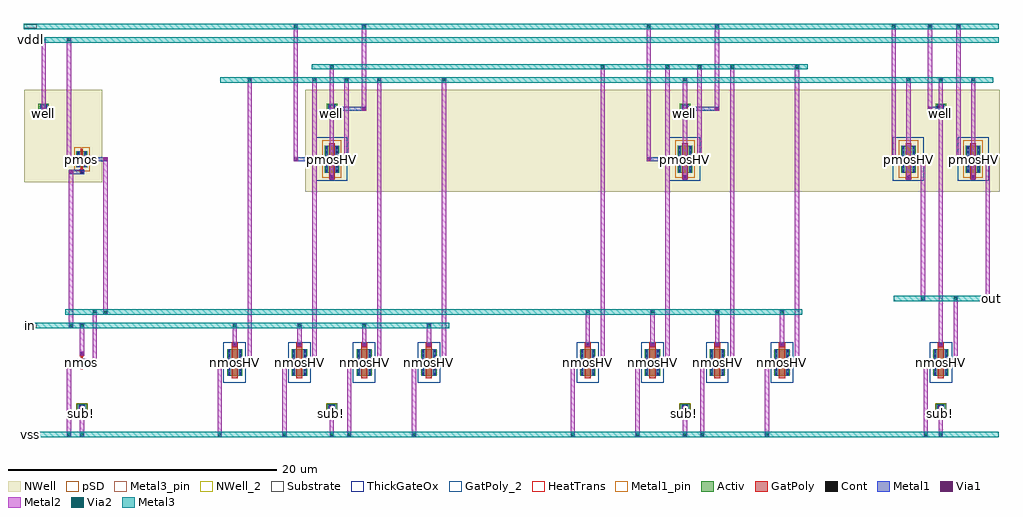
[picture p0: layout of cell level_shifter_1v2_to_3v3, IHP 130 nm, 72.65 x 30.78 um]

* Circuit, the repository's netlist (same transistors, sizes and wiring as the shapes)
** sch_path: /home/arjun/eda/projects/SAR_ADC/circuit_files/sar_adc_test/xschem/level_shifter_1v2_to_3v3.sch
.subckt level_shifter_1v2_to_3v3 vss vddl vddh out in
*.PININFO vddl:B vddh:B out:B vss:B in:B
MM1 inb in vss vss sg13_lv_nmos w=0.6u l=0.13u ng=1
MM2 inb in vddl vddl sg13_lv_pmos w=1.2u l=0.13u ng=1
MM3 a in vss vss sg13_hv_nmos w=2u l=0.45u ng=1 m=4
MM4 b inb vss vss sg13_hv_nmos w=2u l=0.45u ng=1 m=4
MM5 b a vddh vddh sg13_hv_pmos w=2u l=0.4u ng=1
MM6 a b vddh vddh sg13_hv_pmos w=2u l=0.4u ng=1
MM12 out a vss vss sg13_hv_nmos w=2u l=0.45u ng=1
MM16 out a vddh vddh sg13_hv_pmos w=2u l=0.4u ng=1 m=2
.ends

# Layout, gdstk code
import gdstk
lib = gdstk.Library(unit=1e-6, precision=1e-09)
def R(c, l, rs):  # rectangles x0, y0, x1, y1
    for r in rs: c.add(gdstk.rectangle(r[:2], r[2:], *l))
def A(c, l, x, y, w, h, nx, ny, dx, dy):  # array of equal rectangles
    R(c, l, [(x+i*dx, y+j*dy, x+i*dx+w, y+j*dy+h) for i in range(nx) for j in range(ny)])
Activ = (1, 0)
GatPoly = (5, 0)
GatPoly_2 = (5, 2)
Cont = (6, 0)
Metal1 = (8, 0)
Metal1_pin = (8, 2)
Metal2 = (10, 0)
pSD = (14, 0)
Via1 = (19, 0)
Via2 = (29, 0)
Metal3 = (30, 0)
Metal3_pin = (30, 2)
NWell = (31, 0)
NWell_2 = (31, 2)
Substrate = (40, 0)
ThickGateOx = (44, 0)
HeatTrans = (51, 0)

level_shifter_1v2_to_3v3 = lib.new_cell('level_shifter_1v2_to_3v3')
A(level_shifter_1v2_to_3v3, Activ, 10.81, -1, 1.13, 2, 4, 1, 4.82, 0)
A(level_shifter_1v2_to_3v3, Activ, 37.09, -1, 1.13, 2, 4, 1, 4.82, 0)
R(level_shifter_1v2_to_3v3, Activ, [(-0.39,-3.83,0.39,-3.05), (18.215,-3.83,18.995,-3.05), (44.495,-3.83,45.275,-3.05), (63.545,-3.83,64.325,-3.05), (10.81,-1,11.11,-0.7), (11.64,-1,11.94,-0.7), (15.63,-1,15.93,-0.7), (16.46,-1,16.76,-0.7), (20.45,-1,20.75,-0.7), (21.28,-1,21.58,-0.7), (25.27,-1,25.57,-0.7), (26.1,-1,26.4,-0.7), (37.09,-1,37.39,-0.7), (37.92,-1,38.22,-0.7), (41.91,-1,42.21,-0.7), (42.74,-1,43.04,-0.7), (46.73,-1,47.03,-0.7), (47.56,-1,47.86,-0.7), (51.55,-1,51.85,-0.7), (52.38,-1,52.68,-0.7), (63.37,-1,63.67,-0.7), (63.37,-1,64.5,1), (64.2,-1,64.5,-0.7), (-0.405,-0.3,-0.105,0), (-0.405,-0.3,0.405,0.3), (0.105,-0.3,0.405,0), (18.065,14.14,18.365,14.44), (18.065,14.14,19.145,16.14), (18.845,14.14,19.145,14.44), (44.345,14.14,44.645,14.44), (44.345,14.14,45.425,16.14), (45.125,14.14,45.425,14.44), (60.985,14.14,61.285,14.44), (60.985,14.14,62.065,16.14), (61.765,14.14,62.065,14.44), (65.805,14.14,66.105,14.44), (65.805,14.14,66.885,16.14), (66.585,14.14,66.885,14.44), (-0.405,14.54,-0.105,14.84), (-0.405,14.54,0.405,15.74), (0.105,14.54,0.405,14.84), (-3.235,18.5,-2.455,19.28), (18.215,18.5,18.995,19.28), (44.495,18.5,45.275,19.28), (63.545,18.5,64.325,19.28)])
A(level_shifter_1v2_to_3v3, GatPoly, 11.15, -1.18, 0.45, 2.36, 4, 1, 4.82, 0)
A(level_shifter_1v2_to_3v3, GatPoly, 37.43, -1.18, 0.45, 2.36, 4, 1, 4.82, 0)
A(level_shifter_1v2_to_3v3, GatPoly, 11.15, 1.16, 0.45, 0.35, 4, 1, 4.82, 0)
A(level_shifter_1v2_to_3v3, GatPoly, 37.43, 1.16, 0.45, 0.35, 4, 1, 4.82, 0)
R(level_shifter_1v2_to_3v3, GatPoly, [(63.71,-1.18,64.16,1.18), (-0.065,-0.48,0.065,0.48), (-0.15,0.46,0.15,0.81), (63.71,1.16,64.16,1.51), (18.405,13.63,18.805,13.98), (44.685,13.63,45.085,13.98), (61.325,13.63,61.725,13.98), (66.145,13.63,66.545,13.98), (18.405,13.96,18.805,16.32), (44.685,13.96,45.085,16.32), (61.325,13.96,61.725,16.32), (66.145,13.96,66.545,16.32), (-0.15,14.03,0.15,14.38), (-0.065,14.36,0.065,15.92), (-0.065,14.36,0.065,15.92)])
A(level_shifter_1v2_to_3v3, GatPoly_2, 11.15, -1.18, 0.45, 2.36, 4, 1, 4.82, 0)
A(level_shifter_1v2_to_3v3, GatPoly_2, 37.43, -1.18, 0.45, 2.36, 4, 1, 4.82, 0)
R(level_shifter_1v2_to_3v3, GatPoly_2, [(63.71,-1.18,64.16,1.18), (-0.065,-0.48,0.065,0.48), (18.405,13.96,18.805,16.32), (44.685,13.96,45.085,16.32), (61.325,13.96,61.725,16.32), (66.145,13.96,66.545,16.32)])
A(level_shifter_1v2_to_3v3, Cont, 10.88, -0.93, 0.16, 0.16, 1, 6, 0, 0.34)
A(level_shifter_1v2_to_3v3, Cont, 11.71, -0.93, 0.16, 0.16, 1, 6, 0, 0.34)
A(level_shifter_1v2_to_3v3, Cont, 15.7, -0.93, 0.16, 0.16, 1, 6, 0, 0.34)
A(level_shifter_1v2_to_3v3, Cont, 16.53, -0.93, 0.16, 0.16, 1, 6, 0, 0.34)
A(level_shifter_1v2_to_3v3, Cont, 20.52, -0.93, 0.16, 0.16, 1, 6, 0, 0.34)
A(level_shifter_1v2_to_3v3, Cont, 21.35, -0.93, 0.16, 0.16, 1, 6, 0, 0.34)
A(level_shifter_1v2_to_3v3, Cont, 25.34, -0.93, 0.16, 0.16, 1, 6, 0, 0.34)
A(level_shifter_1v2_to_3v3, Cont, 26.17, -0.93, 0.16, 0.16, 1, 6, 0, 0.34)
A(level_shifter_1v2_to_3v3, Cont, 37.16, -0.93, 0.16, 0.16, 1, 6, 0, 0.34)
A(level_shifter_1v2_to_3v3, Cont, 37.99, -0.93, 0.16, 0.16, 1, 6, 0, 0.34)
A(level_shifter_1v2_to_3v3, Cont, 41.98, -0.93, 0.16, 0.16, 1, 6, 0, 0.34)
A(level_shifter_1v2_to_3v3, Cont, 42.81, -0.93, 0.16, 0.16, 1, 6, 0, 0.34)
A(level_shifter_1v2_to_3v3, Cont, 46.8, -0.93, 0.16, 0.16, 1, 6, 0, 0.34)
A(level_shifter_1v2_to_3v3, Cont, 47.63, -0.93, 0.16, 0.16, 1, 6, 0, 0.34)
A(level_shifter_1v2_to_3v3, Cont, 51.62, -0.93, 0.16, 0.16, 1, 6, 0, 0.34)
A(level_shifter_1v2_to_3v3, Cont, 52.45, -0.93, 0.16, 0.16, 1, 6, 0, 0.34)
A(level_shifter_1v2_to_3v3, Cont, 63.44, -0.93, 0.16, 0.16, 1, 6, 0, 0.34)
A(level_shifter_1v2_to_3v3, Cont, 64.27, -0.93, 0.16, 0.16, 1, 6, 0, 0.34)
A(level_shifter_1v2_to_3v3, Cont, 11.295, 1.28, 0.16, 0.16, 4, 1, 4.82, 0)
A(level_shifter_1v2_to_3v3, Cont, 37.575, 1.28, 0.16, 0.16, 4, 1, 4.82, 0)
A(level_shifter_1v2_to_3v3, Cont, 18.135, 14.21, 0.16, 0.16, 1, 6, 0, 0.34)
A(level_shifter_1v2_to_3v3, Cont, 18.915, 14.21, 0.16, 0.16, 1, 6, 0, 0.34)
A(level_shifter_1v2_to_3v3, Cont, 44.415, 14.21, 0.16, 0.16, 1, 6, 0, 0.34)
A(level_shifter_1v2_to_3v3, Cont, 45.195, 14.21, 0.16, 0.16, 1, 6, 0, 0.34)
A(level_shifter_1v2_to_3v3, Cont, 61.055, 14.21, 0.16, 0.16, 1, 6, 0, 0.34)
A(level_shifter_1v2_to_3v3, Cont, 61.835, 14.21, 0.16, 0.16, 1, 6, 0, 0.34)
A(level_shifter_1v2_to_3v3, Cont, 65.875, 14.21, 0.16, 0.16, 1, 6, 0, 0.34)
A(level_shifter_1v2_to_3v3, Cont, 66.655, 14.21, 0.16, 0.16, 1, 6, 0, 0.34)
A(level_shifter_1v2_to_3v3, Cont, -0.335, 14.61, 0.16, 0.16, 1, 3, 0, 0.45)
A(level_shifter_1v2_to_3v3, Cont, 0.175, 14.61, 0.16, 0.16, 1, 3, 0, 0.45)
R(level_shifter_1v2_to_3v3, Cont, [(-0.25,-3.69,-0.09,-3.53), (0.09,-3.69,0.25,-3.53), (18.355,-3.69,18.515,-3.53), (18.695,-3.69,18.855,-3.53), (44.635,-3.69,44.795,-3.53), (44.975,-3.69,45.135,-3.53), (63.685,-3.69,63.845,-3.53), (64.025,-3.69,64.185,-3.53), (-0.25,-3.35,-0.09,-3.19), (0.09,-3.35,0.25,-3.19), (18.355,-3.35,18.515,-3.19), (18.695,-3.35,18.855,-3.19), (44.635,-3.35,44.795,-3.19), (44.975,-3.35,45.135,-3.19), (63.685,-3.35,63.845,-3.19), (64.025,-3.35,64.185,-3.19), (-0.335,-0.08,-0.175,0.08), (0.175,-0.08,0.335,0.08), (-0.08,0.58,0.08,0.74), (63.855,1.28,64.015,1.44), (18.525,13.7,18.685,13.86), (44.805,13.7,44.965,13.86), (61.445,13.7,61.605,13.86), (66.265,13.7,66.425,13.86), (-0.08,14.1,0.08,14.26), (-3.095,18.64,-2.935,18.8), (-2.755,18.64,-2.595,18.8), (18.355,18.64,18.515,18.8), (18.695,18.64,18.855,18.8), (44.635,18.64,44.795,18.8), (44.975,18.64,45.135,18.8), (63.685,18.64,63.845,18.8), (64.025,18.64,64.185,18.8), (-3.095,18.98,-2.935,19.14), (-2.755,18.98,-2.595,19.14), (18.355,18.98,18.515,19.14), (18.695,18.98,18.855,19.14), (44.635,18.98,44.795,19.14), (44.975,18.98,45.135,19.14), (63.685,18.98,63.845,19.14), (64.025,18.98,64.185,19.14)])
A(level_shifter_1v2_to_3v3, Metal1, 11.215, 1.2, 0.32, 0.32, 4, 1, 4.82, 0)
A(level_shifter_1v2_to_3v3, Metal1, 37.495, 1.2, 0.32, 0.32, 4, 1, 4.82, 0)
A(level_shifter_1v2_to_3v3, Metal1, 11.23, 1.255, 0.29, 0.21, 4, 1, 4.82, 0)
A(level_shifter_1v2_to_3v3, Metal1, 37.51, 1.255, 0.29, 0.21, 4, 1, 4.82, 0)
R(level_shifter_1v2_to_3v3, Metal1, [(-0.25,-3.74,0.25,-3.14), (18.355,-3.74,18.855,-3.14), (44.635,-3.74,45.135,-3.14), (63.685,-3.74,64.185,-3.14), (-0.25,-3.69,0.25,-3.19), (18.355,-3.69,18.855,-3.19), (44.635,-3.69,45.135,-3.19), (63.685,-3.69,64.185,-3.19), (-0.145,-3.545,0.145,-3.335), (18.46,-3.545,18.75,-3.335), (44.74,-3.545,45.03,-3.335), (63.79,-3.545,64.08,-3.335), (10.88,-1,11.04,1), (11.71,-1,11.87,1), (15.7,-1,15.86,1), (16.53,-1,16.69,1), (20.52,-1,20.68,1), (21.35,-1,21.51,1), (25.34,-1,25.5,1), (26.17,-1,26.33,1), (37.16,-1,37.32,1), (37.99,-1,38.15,1), (41.98,-1,42.14,1), (42.81,-1,42.97,1), (46.8,-1,46.96,1), (47.63,-1,47.79,1), (51.62,-1,51.78,1), (52.45,-1,52.61,1), (63.44,-1,63.6,1), (64.27,-1,64.43,1), (-0.335,-0.3,-0.175,0.3), (0.175,-0.3,0.335,0.3), (-1.095,-0.14,-0.115,0.14), (0.115,-0.14,1.095,0.14), (10.12,-0.14,11.1,0.14), (11.65,-0.14,12.63,0.14), (14.94,-0.14,15.92,0.14), (16.47,-0.14,17.45,0.14), (19.76,-0.14,20.74,0.14), (21.29,-0.14,22.27,0.14), (24.58,-0.14,25.56,0.14), (26.11,-0.14,27.09,0.14), (36.4,-0.14,37.38,0.14), (37.93,-0.14,38.91,0.14), (41.22,-0.14,42.2,0.14), (42.75,-0.14,43.73,0.14), (46.04,-0.14,47.02,0.14), (47.57,-0.14,48.55,0.14), (50.86,-0.14,51.84,0.14), (52.39,-0.14,53.37,0.14), (62.68,-0.14,63.66,0.14), (64.21,-0.14,65.19,0.14), (-1.1,-0.105,-0.81,0.105), (0.81,-0.105,1.1,0.105), (10.115,-0.105,10.405,0.105), (12.345,-0.105,12.635,0.105), (14.935,-0.105,15.225,0.105), (17.165,-0.105,17.455,0.105), (19.755,-0.105,20.045,0.105), (21.985,-0.105,22.275,0.105), (24.575,-0.105,24.865,0.105), (26.805,-0.105,27.095,0.105), (36.395,-0.105,36.685,0.105), (38.625,-0.105,38.915,0.105), (41.215,-0.105,41.505,0.105), (43.445,-0.105,43.735,0.105), (46.035,-0.105,46.325,0.105), (48.265,-0.105,48.555,0.105), (50.855,-0.105,51.145,0.105), (53.085,-0.105,53.375,0.105), (62.675,-0.105,62.965,0.105), (64.905,-0.105,65.195,0.105), (-0.16,0.5,0.16,0.82), (-0.145,0.555,0.145,0.765), (63.775,1.2,64.095,1.52), (63.79,1.255,64.08,1.465), (18.445,13.62,18.765,13.94), (44.725,13.62,45.045,13.94), (61.365,13.62,61.685,13.94), (66.185,13.62,66.505,13.94), (18.46,13.675,18.75,13.885), (44.74,13.675,45.03,13.885), (61.38,13.675,61.67,13.885), (66.2,13.675,66.49,13.885), (-0.96,14.02,0.16,14.34), (-0.16,14.02,0.16,14.34), (-0.945,14.075,-0.655,14.285), (18.135,14.14,18.295,16.14), (18.915,14.14,19.075,16.14), (44.415,14.14,44.575,16.14), (45.195,14.14,45.355,16.14), (61.055,14.14,61.215,16.14), (61.835,14.14,61.995,16.14), (65.875,14.14,66.035,16.14), (66.655,14.14,66.815,16.14), (-0.335,14.54,-0.175,15.74), (-0.335,14.54,-0.175,15.74), (0.175,14.54,0.335,15.74), (0.175,14.54,0.335,15.74), (-1.095,15,-0.115,15.28), (0.115,15,1.895,15.28), (15.775,15,18.355,15.28), (18.855,15,19.835,15.28), (42.055,15,44.635,15.28), (45.135,15,46.115,15.28), (60.295,15,61.275,15.28), (61.775,15,62.755,15.28), (65.115,15,66.095,15.28), (66.595,15,67.575,15.28), (-1.1,15.035,-0.81,15.245), (1.61,15.035,1.9,15.245), (15.77,15.035,16.06,15.245), (19.55,15.035,19.84,15.245), (42.05,15.035,42.34,15.245), (45.83,15.035,46.12,15.245), (60.29,15.035,60.58,15.245), (62.47,15.035,62.76,15.245), (65.11,15.035,65.4,15.245), (67.29,15.035,67.58,15.245), (-3.095,18.59,-2.595,19.19), (18.355,18.59,18.855,19.19), (44.635,18.59,45.135,19.19), (63.685,18.59,64.185,19.19), (18.465,18.75,21.145,19.03), (44.745,18.75,47.425,19.03), (62.995,18.75,64.075,19.03), (-2.99,18.785,-2.7,18.995), (20.86,18.785,21.15,18.995), (47.14,18.785,47.43,18.995), (62.99,18.785,63.28,18.995)])
R(level_shifter_1v2_to_3v3, Metal1_pin, [(-0.25,-3.69,0.25,-3.19), (18.355,-3.69,18.855,-3.19), (44.635,-3.69,45.135,-3.19), (63.685,-3.69,64.185,-3.19), (10.88,-1,11.04,1), (11.71,-1,11.87,1), (15.7,-1,15.86,1), (16.53,-1,16.69,1), (20.52,-1,20.68,1), (21.35,-1,21.51,1), (25.34,-1,25.5,1), (26.17,-1,26.33,1), (37.16,-1,37.32,1), (37.99,-1,38.15,1), (41.98,-1,42.14,1), (42.81,-1,42.97,1), (46.8,-1,46.96,1), (47.63,-1,47.79,1), (51.62,-1,51.78,1), (52.45,-1,52.61,1), (63.44,-1,63.6,1), (64.27,-1,64.43,1), (-0.335,-0.3,-0.175,0.3), (0.175,-0.3,0.335,0.3), (18.135,14.14,18.295,16.14), (18.915,14.14,19.075,16.14), (44.415,14.14,44.575,16.14), (45.195,14.14,45.355,16.14), (61.055,14.14,61.215,16.14), (61.835,14.14,61.995,16.14), (65.875,14.14,66.035,16.14), (66.655,14.14,66.815,16.14), (-3.095,18.59,-2.595,19.19), (18.355,18.59,18.855,19.19), (44.635,18.59,45.135,19.19), (63.685,18.59,64.185,19.19), (-3.095,18.64,-2.595,19.14), (18.355,18.64,18.855,19.14), (44.635,18.64,45.135,19.14), (63.685,18.64,64.185,19.14)])
A(level_shifter_1v2_to_3v3, Metal2, 10.1, -5.52, 0.32, 5.68, 4, 1, 4.82, 0)
A(level_shifter_1v2_to_3v3, Metal2, 36.38, -5.52, 0.32, 5.68, 4, 1, 4.82, 0)
A(level_shifter_1v2_to_3v3, Metal2, 12.33, -0.16, 0.32, 21.34, 4, 1, 4.82, 0)
A(level_shifter_1v2_to_3v3, Metal2, 38.61, -0.16, 0.32, 22.34, 4, 1, 4.82, 0)
A(level_shifter_1v2_to_3v3, Metal2, 11.215, 1.2, 0.32, 1.73, 4, 1, 4.82, 0)
A(level_shifter_1v2_to_3v3, Metal2, 37.495, 1.2, 0.32, 2.73, 4, 1, 4.82, 0)
A(level_shifter_1v2_to_3v3, Metal2, 11.23, 1.26, 0.29, 0.2, 4, 2, 4.82, 1.41)
A(level_shifter_1v2_to_3v3, Metal2, 37.51, 1.26, 0.29, 0.2, 4, 2, 4.82, 2.41)
A(level_shifter_1v2_to_3v3, Metal2, 61.38, 20.92, 0.29, 0.2, 3, 1, 2.41, 0)
R(level_shifter_1v2_to_3v3, Metal2, [(-1.115,-5.52,-0.795,0.16), (-0.16,-5.52,0.16,-3.28), (18.445,-5.52,18.765,-3.28), (44.725,-5.52,45.045,-3.28), (62.66,-5.52,62.98,0.16), (63.775,-5.52,64.095,-3.28), (-1.1,-5.46,-0.81,-5.26), (-0.145,-5.46,0.145,-5.26), (10.115,-5.46,10.405,-5.26), (14.935,-5.46,15.225,-5.26), (18.46,-5.46,18.75,-5.26), (19.755,-5.46,20.045,-5.26), (24.575,-5.46,24.865,-5.26), (36.395,-5.46,36.685,-5.26), (41.215,-5.46,41.505,-5.26), (44.74,-5.46,45.03,-5.26), (46.035,-5.46,46.325,-5.26), (50.855,-5.46,51.145,-5.26), (62.675,-5.46,62.965,-5.26), (63.79,-5.46,64.08,-5.26), (-0.145,-3.54,0.145,-3.34), (18.46,-3.54,18.75,-3.34), (44.74,-3.54,45.03,-3.34), (63.79,-3.54,64.08,-3.34), (0.795,-0.16,1.115,3.93), (64.89,-0.16,65.21,4.93), (-1.1,-0.1,-0.81,0.1), (0.81,-0.1,1.1,0.1), (10.115,-0.1,10.405,0.1), (12.345,-0.1,12.635,0.1), (14.935,-0.1,15.225,0.1), (17.165,-0.1,17.455,0.1), (19.755,-0.1,20.045,0.1), (21.985,-0.1,22.275,0.1), (24.575,-0.1,24.865,0.1), (26.805,-0.1,27.095,0.1), (36.395,-0.1,36.685,0.1), (38.625,-0.1,38.915,0.1), (41.215,-0.1,41.505,0.1), (43.445,-0.1,43.735,0.1), (46.035,-0.1,46.325,0.1), (48.265,-0.1,48.555,0.1), (50.855,-0.1,51.145,0.1), (53.085,-0.1,53.375,0.1), (62.675,-0.1,62.965,0.1), (64.905,-0.1,65.195,0.1), (-0.16,0.5,0.16,2.93), (-0.145,0.56,0.145,0.76), (63.775,1.2,64.095,21.18), (63.79,1.26,64.08,1.46), (-0.96,2.61,-0.64,14.34), (-0.945,2.67,-0.655,2.87), (-0.145,2.67,0.145,2.87), (1.595,3.61,1.915,15.3), (0.81,3.67,1.1,3.87), (1.61,3.67,1.9,3.87), (62.455,4.61,62.775,15.3), (67.275,4.61,67.595,15.3), (62.47,4.67,62.76,4.87), (64.905,4.67,65.195,4.87), (67.29,4.67,67.58,4.87), (18.445,13.62,18.765,22.18), (44.725,13.62,45.045,21.18), (61.365,13.62,61.685,21.18), (66.185,13.62,66.505,21.18), (18.46,13.68,18.75,13.88), (44.74,13.68,45.03,13.88), (61.38,13.68,61.67,13.88), (66.2,13.68,66.49,13.88), (-0.945,14.08,-0.655,14.28), (-1.115,14.98,-0.795,24.18), (15.755,14.98,16.075,25.18), (19.535,14.98,19.855,21.18), (42.035,14.98,42.355,25.18), (45.815,14.98,46.135,22.18), (60.275,14.98,60.595,25.18), (65.095,14.98,65.415,25.18), (-1.1,15.04,-0.81,15.24), (1.61,15.04,1.9,15.24), (15.77,15.04,16.06,15.24), (19.55,15.04,19.84,15.24), (42.05,15.04,42.34,15.24), (45.83,15.04,46.12,15.24), (60.29,15.04,60.58,15.24), (62.47,15.04,62.76,15.24), (65.11,15.04,65.4,15.24), (67.29,15.04,67.58,15.24), (-3.005,18.73,-2.685,24.18), (20.845,18.73,21.165,25.18), (47.125,18.73,47.445,25.18), (62.975,18.73,63.295,25.18), (-2.99,18.79,-2.7,18.99), (20.86,18.79,21.15,18.99), (47.14,18.79,47.43,18.99), (62.99,18.79,63.28,18.99), (12.345,20.92,12.635,21.12), (17.165,20.92,17.455,21.12), (19.55,20.92,19.84,21.12), (21.985,20.92,22.275,21.12), (26.805,20.92,27.095,21.12), (44.74,20.92,45.03,21.12), (18.46,21.92,18.75,22.12), (38.625,21.92,38.915,22.12), (43.445,21.92,43.735,22.12), (45.83,21.92,46.12,22.12), (48.265,21.92,48.555,22.12), (53.085,21.92,53.375,22.12), (-2.99,23.92,-2.7,24.12), (-1.1,23.92,-0.81,24.12), (15.77,24.92,16.06,25.12), (20.86,24.92,21.15,25.12), (42.05,24.92,42.34,25.12), (47.14,24.92,47.43,25.12), (60.29,24.92,60.58,25.12), (62.99,24.92,63.28,25.12), (65.11,24.92,65.4,25.12)])
R(level_shifter_1v2_to_3v3, pSD, [(-0.42,-3.86,0.42,-3.02), (18.185,-3.86,19.025,-3.02), (44.465,-3.86,45.305,-3.02), (63.515,-3.86,64.355,-3.02), (17.885,13.74,19.325,16.54), (44.165,13.74,45.605,16.54), (60.805,13.74,62.245,16.54), (65.625,13.74,67.065,16.54), (-0.585,14.24,0.585,16.04)])
A(level_shifter_1v2_to_3v3, Via1, 11.28, 1.265, 0.19, 0.19, 4, 1, 4.82, 0)
A(level_shifter_1v2_to_3v3, Via1, 37.56, 1.265, 0.19, 0.19, 4, 1, 4.82, 0)
R(level_shifter_1v2_to_3v3, Via1, [(-0.095,-3.535,0.095,-3.345), (18.51,-3.535,18.7,-3.345), (44.79,-3.535,44.98,-3.345), (63.84,-3.535,64.03,-3.345), (-1.05,-0.095,-0.86,0.095), (0.86,-0.095,1.05,0.095), (10.165,-0.095,10.355,0.095), (12.395,-0.095,12.585,0.095), (14.985,-0.095,15.175,0.095), (17.215,-0.095,17.405,0.095), (19.805,-0.095,19.995,0.095), (22.035,-0.095,22.225,0.095), (24.625,-0.095,24.815,0.095), (26.855,-0.095,27.045,0.095), (36.445,-0.095,36.635,0.095), (38.675,-0.095,38.865,0.095), (41.265,-0.095,41.455,0.095), (43.495,-0.095,43.685,0.095), (46.085,-0.095,46.275,0.095), (48.315,-0.095,48.505,0.095), (50.905,-0.095,51.095,0.095), (53.135,-0.095,53.325,0.095), (62.725,-0.095,62.915,0.095), (64.955,-0.095,65.145,0.095), (-0.095,0.565,0.095,0.755), (63.84,1.265,64.03,1.455), (18.51,13.685,18.7,13.875), (44.79,13.685,44.98,13.875), (61.43,13.685,61.62,13.875), (66.25,13.685,66.44,13.875), (-0.895,14.085,-0.705,14.275), (-1.05,15.045,-0.86,15.235), (1.66,15.045,1.85,15.235), (15.82,15.045,16.01,15.235), (19.6,15.045,19.79,15.235), (42.1,15.045,42.29,15.235), (45.88,15.045,46.07,15.235), (60.34,15.045,60.53,15.235), (62.52,15.045,62.71,15.235), (65.16,15.045,65.35,15.235), (67.34,15.045,67.53,15.235), (-2.94,18.795,-2.75,18.985), (20.91,18.795,21.1,18.985), (47.19,18.795,47.38,18.985), (63.04,18.795,63.23,18.985)])
A(level_shifter_1v2_to_3v3, Via2, 11.28, 2.675, 0.19, 0.19, 4, 1, 4.82, 0)
A(level_shifter_1v2_to_3v3, Via2, 37.56, 3.675, 0.19, 0.19, 4, 1, 4.82, 0)
A(level_shifter_1v2_to_3v3, Via2, 61.43, 20.925, 0.19, 0.19, 3, 1, 2.41, 0)
R(level_shifter_1v2_to_3v3, Via2, [(-1.05,-5.455,-0.86,-5.265), (-0.095,-5.455,0.095,-5.265), (10.165,-5.455,10.355,-5.265), (14.985,-5.455,15.175,-5.265), (18.51,-5.455,18.7,-5.265), (19.805,-5.455,19.995,-5.265), (24.625,-5.455,24.815,-5.265), (36.445,-5.455,36.635,-5.265), (41.265,-5.455,41.455,-5.265), (44.79,-5.455,44.98,-5.265), (46.085,-5.455,46.275,-5.265), (50.905,-5.455,51.095,-5.265), (62.725,-5.455,62.915,-5.265), (63.84,-5.455,64.03,-5.265), (-0.895,2.675,-0.705,2.865), (-0.095,2.675,0.095,2.865), (0.86,3.675,1.05,3.865), (1.66,3.675,1.85,3.865), (62.52,4.675,62.71,4.865), (64.955,4.675,65.145,4.865), (67.34,4.675,67.53,4.865), (12.395,20.925,12.585,21.115), (17.215,20.925,17.405,21.115), (19.6,20.925,19.79,21.115), (22.035,20.925,22.225,21.115), (26.855,20.925,27.045,21.115), (44.79,20.925,44.98,21.115), (18.51,21.925,18.7,22.115), (38.675,21.925,38.865,22.115), (43.495,21.925,43.685,22.115), (45.88,21.925,46.07,22.115), (48.315,21.925,48.505,22.115), (53.135,21.925,53.325,22.115), (-2.94,23.925,-2.75,24.115), (-1.05,23.925,-0.86,24.115), (15.82,24.925,16.01,25.115), (20.91,24.925,21.1,25.115), (42.1,24.925,42.29,25.115), (47.19,24.925,47.38,25.115), (60.34,24.925,60.53,25.115), (63.04,24.925,63.23,25.115), (65.16,24.925,65.35,25.115)])
A(level_shifter_1v2_to_3v3, Metal3, 11.23, 2.67, 0.29, 0.2, 4, 1, 4.82, 0)
A(level_shifter_1v2_to_3v3, Metal3, 37.51, 3.67, 0.29, 0.2, 4, 1, 4.82, 0)
A(level_shifter_1v2_to_3v3, Metal3, 61.38, 20.92, 0.29, 0.2, 3, 1, 2.41, 0)
R(level_shifter_1v2_to_3v3, Metal3, [(-4.345,-5.56,68.235,-5.16), (-1.1,-5.46,-0.81,-5.26), (-0.145,-5.46,0.145,-5.26), (10.115,-5.46,10.405,-5.26), (14.935,-5.46,15.225,-5.26), (18.46,-5.46,18.75,-5.26), (19.755,-5.46,20.045,-5.26), (24.575,-5.46,24.865,-5.26), (36.395,-5.46,36.685,-5.26), (41.215,-5.46,41.505,-5.26), (44.74,-5.46,45.03,-5.26), (46.035,-5.46,46.325,-5.26), (50.855,-5.46,51.145,-5.26), (62.675,-5.46,62.965,-5.26), (63.79,-5.46,64.08,-5.26), (-4.345,2.57,27.335,2.97), (-0.945,2.67,-0.655,2.87), (-0.145,2.67,0.145,2.87), (-1.245,3.57,53.615,3.97), (0.81,3.67,1.1,3.87), (1.61,3.67,1.9,3.87), (60.415,4.57,68.235,4.97), (62.47,4.67,62.76,4.87), (64.905,4.67,65.195,4.87), (67.29,4.67,67.58,4.87), (10.29,20.82,67.845,21.22), (12.345,20.92,12.635,21.12), (17.165,20.92,17.455,21.12), (19.55,20.92,19.84,21.12), (21.985,20.92,22.275,21.12), (26.805,20.92,27.095,21.12), (44.74,20.92,45.03,21.12), (17.105,21.82,54.03,22.22), (18.46,21.92,18.75,22.12), (38.625,21.92,38.915,22.12), (43.445,21.92,43.735,22.12), (45.83,21.92,46.12,22.12), (48.265,21.92,48.555,22.12), (53.085,21.92,53.375,22.12), (-4.345,23.82,68.235,24.22), (-2.99,23.92,-2.7,24.12), (-1.1,23.92,-0.81,24.12), (-4.345,24.82,68.235,25.22), (15.77,24.92,16.06,25.12), (20.86,24.92,21.15,25.12), (42.05,24.92,42.34,25.12), (47.14,24.92,47.43,25.12), (60.29,24.92,60.58,25.12), (62.99,24.92,63.28,25.12), (65.11,24.92,65.4,25.12)])
R(level_shifter_1v2_to_3v3, Metal3_pin, [(-4.345,-5.51,-3.345,-5.21), (-4.345,2.62,-3.345,2.92), (67.235,4.62,68.235,4.92), (-4.345,23.87,-3.345,24.17), (-4.345,24.87,-3.345,25.17)])
R(level_shifter_1v2_to_3v3, NWell, [(16.645,12.72,68.305,20.32), (-4.275,13.43,1.515,20.32), (17.445,13.52,19.765,16.76), (43.725,13.52,46.045,16.76), (60.365,13.52,62.685,16.76), (65.185,13.52,67.505,16.76), (-0.715,14.23,0.715,16.05), (-3.475,18.26,-2.215,19.52), (17.975,18.26,19.235,19.52), (44.255,18.26,45.515,19.52), (63.305,18.26,64.565,19.52), (-3.235,18.5,-2.455,19.28), (18.215,18.5,18.995,19.28), (44.495,18.5,45.275,19.28), (63.545,18.5,64.325,19.28)])
R(level_shifter_1v2_to_3v3, NWell_2, [(-3.235,18.5,-2.455,19.28), (18.215,18.5,18.995,19.28), (44.495,18.5,45.275,19.28), (63.545,18.5,64.325,19.28)])
R(level_shifter_1v2_to_3v3, Substrate, [(-0.39,-3.83,0.39,-3.05), (18.215,-3.83,18.995,-3.05), (44.495,-3.83,45.275,-3.05), (63.545,-3.83,64.325,-3.05)])
A(level_shifter_1v2_to_3v3, ThickGateOx, 10.54, -1.52, 1.67, 3.04, 4, 1, 4.82, 0)
A(level_shifter_1v2_to_3v3, ThickGateOx, 36.82, -1.52, 1.67, 3.04, 4, 1, 4.82, 0)
R(level_shifter_1v2_to_3v3, ThickGateOx, [(63.1,-1.52,64.77,1.52), (17.445,13.52,19.765,16.76), (43.725,13.52,46.045,16.76), (60.365,13.52,62.685,16.76), (65.185,13.52,67.505,16.76)])
A(level_shifter_1v2_to_3v3, HeatTrans, 11.15, -1.18, 0.45, 2.36, 4, 1, 4.82, 0)
A(level_shifter_1v2_to_3v3, HeatTrans, 37.43, -1.18, 0.45, 2.36, 4, 1, 4.82, 0)
R(level_shifter_1v2_to_3v3, HeatTrans, [(63.71,-1.18,64.16,1.18), (-0.065,-0.48,0.065,0.48), (18.405,13.96,18.805,16.32), (44.685,13.96,45.085,16.32), (61.325,13.96,61.725,16.32), (66.145,13.96,66.545,16.32), (-0.065,14.36,0.065,15.92)])
level_shifter_1v2_to_3v3.add(gdstk.Label('nmos', (0,0), layer=63, texttype=0))
level_shifter_1v2_to_3v3.add(gdstk.Label('pmos', (0,15.14), layer=63, texttype=0))
level_shifter_1v2_to_3v3.add(gdstk.Label('nmosHV', (11.375,0), layer=63, texttype=0))
level_shifter_1v2_to_3v3.add(gdstk.Label('nmosHV', (16.195,0), layer=63, texttype=0))
level_shifter_1v2_to_3v3.add(gdstk.Label('nmosHV', (21.015,0), layer=63, texttype=0))
level_shifter_1v2_to_3v3.add(gdstk.Label('nmosHV', (25.835,0), layer=63, texttype=0))
level_shifter_1v2_to_3v3.add(gdstk.Label('nmosHV', (37.655,0), layer=63, texttype=0))
level_shifter_1v2_to_3v3.add(gdstk.Label('nmosHV', (42.475,0), layer=63, texttype=0))
level_shifter_1v2_to_3v3.add(gdstk.Label('nmosHV', (47.295,0), layer=63, texttype=0))
level_shifter_1v2_to_3v3.add(gdstk.Label('nmosHV', (52.115,0), layer=63, texttype=0))
level_shifter_1v2_to_3v3.add(gdstk.Label('pmosHV', (18.605,15.14), layer=63, texttype=0))
level_shifter_1v2_to_3v3.add(gdstk.Label('pmosHV', (44.885,15.14), layer=63, texttype=0))
level_shifter_1v2_to_3v3.add(gdstk.Label('nmosHV', (63.935,0), layer=63, texttype=0))
level_shifter_1v2_to_3v3.add(gdstk.Label('pmosHV', (61.525,15.14), layer=63, texttype=0))
level_shifter_1v2_to_3v3.add(gdstk.Label('pmosHV', (66.345,15.14), layer=63, texttype=0))
level_shifter_1v2_to_3v3.add(gdstk.Label('well', (-2.845,18.51), layer=63, texttype=0))
level_shifter_1v2_to_3v3.add(gdstk.Label('well', (18.605,18.51), layer=63, texttype=0))
level_shifter_1v2_to_3v3.add(gdstk.Label('well', (44.885,18.51), layer=63, texttype=0))
level_shifter_1v2_to_3v3.add(gdstk.Label('well', (63.935,18.51), layer=63, texttype=0))
level_shifter_1v2_to_3v3.add(gdstk.Label('sub!', (0,-3.82), layer=63, texttype=0))
level_shifter_1v2_to_3v3.add(gdstk.Label('sub!', (18.605,-3.82), layer=63, texttype=0))
level_shifter_1v2_to_3v3.add(gdstk.Label('sub!', (44.885,-3.82), layer=63, texttype=0))
level_shifter_1v2_to_3v3.add(gdstk.Label('sub!', (63.935,-3.82), layer=63, texttype=0))
level_shifter_1v2_to_3v3.add(gdstk.Label('nmos', (0,0), layer=51, texttype=0))
level_shifter_1v2_to_3v3.add(gdstk.Label('pmos', (0,15.14), layer=51, texttype=0))
level_shifter_1v2_to_3v3.add(gdstk.Label('nmosHV', (11.375,0), layer=51, texttype=0))
level_shifter_1v2_to_3v3.add(gdstk.Label('nmosHV', (16.195,0), layer=51, texttype=0))
level_shifter_1v2_to_3v3.add(gdstk.Label('nmosHV', (21.015,0), layer=51, texttype=0))
level_shifter_1v2_to_3v3.add(gdstk.Label('nmosHV', (25.835,0), layer=51, texttype=0))
level_shifter_1v2_to_3v3.add(gdstk.Label('nmosHV', (37.655,0), layer=51, texttype=0))
level_shifter_1v2_to_3v3.add(gdstk.Label('nmosHV', (42.475,0), layer=51, texttype=0))
level_shifter_1v2_to_3v3.add(gdstk.Label('nmosHV', (47.295,0), layer=51, texttype=0))
level_shifter_1v2_to_3v3.add(gdstk.Label('nmosHV', (52.115,0), layer=51, texttype=0))
level_shifter_1v2_to_3v3.add(gdstk.Label('pmos', (18.605,15.14), layer=51, texttype=0))
level_shifter_1v2_to_3v3.add(gdstk.Label('pmos', (44.885,15.14), layer=51, texttype=0))
level_shifter_1v2_to_3v3.add(gdstk.Label('nmosHV', (63.935,0), layer=51, texttype=0))
level_shifter_1v2_to_3v3.add(gdstk.Label('pmos', (61.525,15.14), layer=51, texttype=0))
level_shifter_1v2_to_3v3.add(gdstk.Label('pmos', (66.345,15.14), layer=51, texttype=0))
level_shifter_1v2_to_3v3.add(gdstk.Label('well', (-2.845,18.51), layer=31, texttype=0))
level_shifter_1v2_to_3v3.add(gdstk.Label('well', (18.605,18.51), layer=31, texttype=0))
level_shifter_1v2_to_3v3.add(gdstk.Label('well', (44.885,18.51), layer=31, texttype=0))
level_shifter_1v2_to_3v3.add(gdstk.Label('well', (63.935,18.51), layer=31, texttype=0))
level_shifter_1v2_to_3v3.add(gdstk.Label('sub!', (0,-3.82), layer=40, texttype=0))
level_shifter_1v2_to_3v3.add(gdstk.Label('sub!', (18.605,-3.82), layer=40, texttype=0))
level_shifter_1v2_to_3v3.add(gdstk.Label('sub!', (44.885,-3.82), layer=40, texttype=0))
level_shifter_1v2_to_3v3.add(gdstk.Label('sub!', (63.935,-3.82), layer=40, texttype=0))
level_shifter_1v2_to_3v3.add(gdstk.Label('vss', (-3.845,-5.36), layer=30, texttype=25))
level_shifter_1v2_to_3v3.add(gdstk.Label('vddl', (-3.845,24.02), layer=30, texttype=25))
level_shifter_1v2_to_3v3.add(gdstk.Label('vddh', (-3.845,25.02), layer=30, texttype=25))
level_shifter_1v2_to_3v3.add(gdstk.Label('out', (67.735,4.77), layer=30, texttype=25))
level_shifter_1v2_to_3v3.add(gdstk.Label('in', (-3.845,2.77), layer=30, texttype=25))

lib.write_gds('level_shifter_1v2_to_3v3.gds')
